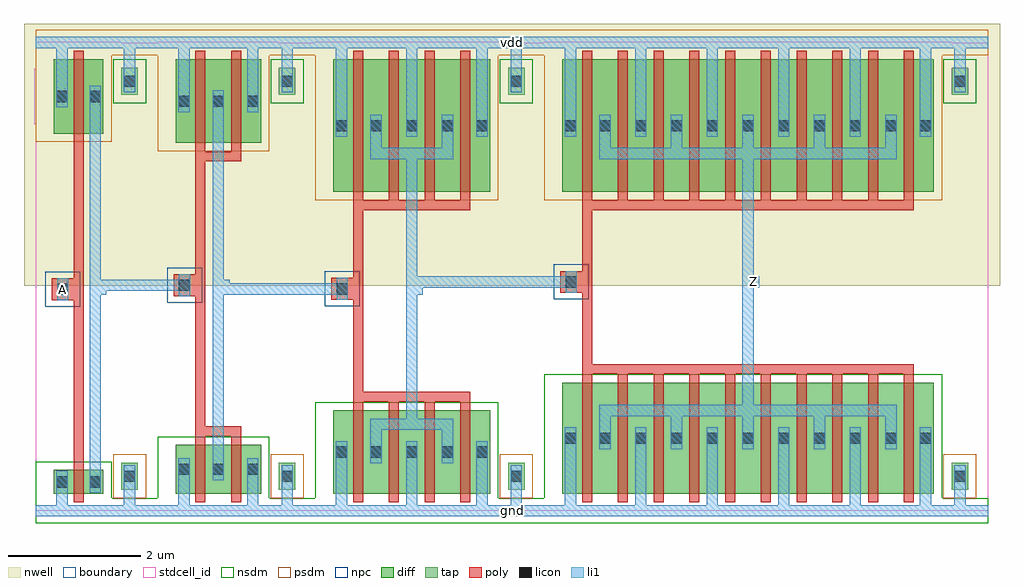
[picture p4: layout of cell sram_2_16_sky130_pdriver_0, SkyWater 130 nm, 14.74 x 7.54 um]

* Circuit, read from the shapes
.subckt sram_2_16_sky130_pdriver_0 A Z gnd vdd
XM1 sram_2_16_sky130_pinv_5_1/A A gnd gnd sky130_fd_pr__nfet_01v8 w=0.36 l=0.15
XM2 sram_2_16_sky130_pinv_6_2/A sram_2_16_sky130_pinv_5_1/A gnd gnd sky130_fd_pr__nfet_01v8 w=0.74 l=0.15 m=2
XM3 sram_2_16_sky130_pinv_7_3/A sram_2_16_sky130_pinv_6_2/A gnd gnd sky130_fd_pr__nfet_01v8 w=1.26 l=0.15 m=4
XM4 Z sram_2_16_sky130_pinv_7_3/A gnd gnd sky130_fd_pr__nfet_01v8 w=1.68 l=0.15 m=10
XM5 sram_2_16_sky130_pinv_5_1/A A vdd vdd sky130_fd_pr__pfet_01v8 w=1.12 l=0.15
XM6 sram_2_16_sky130_pinv_6_2/A sram_2_16_sky130_pinv_5_1/A vdd vdd sky130_fd_pr__pfet_01v8 w=1.26 l=0.15 m=2
XM7 sram_2_16_sky130_pinv_7_3/A sram_2_16_sky130_pinv_6_2/A vdd vdd sky130_fd_pr__pfet_01v8 w=2 l=0.15 m=4
XM8 Z sram_2_16_sky130_pinv_7_3/A vdd vdd sky130_fd_pr__pfet_01v8 w=2 l=0.15 m=10
.ends

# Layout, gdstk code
import gdstk
lib = gdstk.Library(unit=1e-6, precision=1e-09)
def R(c, l, rs):  # rectangles x0, y0, x1, y1
    for r in rs: c.add(gdstk.rectangle(r[:2], r[2:], *l))
def A(c, l, x, y, w, h, nx, ny, dx, dy):  # array of equal rectangles
    R(c, l, [(x+i*dx, y+j*dy, x+i*dx+w, y+j*dy+h) for i in range(nx) for j in range(ny)])
nwell = (64, 20)
diff = (65, 20)
tap = (65, 44)
poly = (66, 20)
licon = (66, 44)
li1 = (67, 20)
stdcell_id = (81, 4)
nsdm = (93, 44)
psdm = (94, 20)
npc = (95, 20)
boundary = (235, 4)

sram_2_16_sky130_contact = lib.new_cell('sram_2_16_sky130_contact_11')
R(sram_2_16_sky130_contact, nwell, [(-0.295,-0.255,0.545,0.585)])
R(sram_2_16_sky130_contact, diff, [(0,0.02,0.25,0.31)])
R(sram_2_16_sky130_contact, licon, [(0.04,0.08,0.21,0.25)])
R(sram_2_16_sky130_contact, li1, [(0.04,0,0.21,0.33)])
R(sram_2_16_sky130_contact, stdcell_id, [(-0.295,-0.255,0.545,0.585)])
R(sram_2_16_sky130_contact, psdm, [(-0.125,-0.105,0.375,0.435)])
R(sram_2_16_sky130_contact, boundary, [(-0.295,-0.255,0.545,0.585)])

sram_2_16_sky130_pmos_m1 = lib.new_cell('sram_2_16_sky130_pmos_m1_w1_120_sli_dli_da_p')
R(sram_2_16_sky130_pmos_m1, nwell, [(-0.27,-0.27,1.02,1.39)])
R(sram_2_16_sky130_pmos_m1, diff, [(0,0,0.75,1.12)])
R(sram_2_16_sky130_pmos_m1, poly, [(0.3,-0.13,0.45,1.25), (0.3,-0.13,0.45,1.25)])
R(sram_2_16_sky130_pmos_m1, li1, [(0.04,0.395,0.21,0.725), (0.54,0.395,0.71,0.725)])
R(sram_2_16_sky130_pmos_m1, stdcell_id, [(-0.27,-0.27,1.02,1.39)])
R(sram_2_16_sky130_pmos_m1, psdm, [(-0.125,-0.125,0.875,1.245)])
R(sram_2_16_sky130_pmos_m1, boundary, [(-0.27,-0.27,1.02,1.39)])
sram_2_16_sky130_pmos_m1.add(gdstk.Reference(sram_2_16_sky130_contact, (0,0.395)))
sram_2_16_sky130_pmos_m1.add(gdstk.Reference(sram_2_16_sky130_contact, (0.5,0.395)))
sram_2_16_sky130_pmos_m1.add(gdstk.Label('G', (0.375,0.56), layer=66, texttype=5))
sram_2_16_sky130_pmos_m1.add(gdstk.Label('S', (0.125,0.56), layer=67, texttype=5))
sram_2_16_sky130_pmos_m1.add(gdstk.Label('D', (0.625,0.56), layer=67, texttype=5))

c_sram_2_16_sky130_contact = lib.new_cell('sram_2_16_sky130_contact_10')
R(c_sram_2_16_sky130_contact, diff, [(0,0.02,0.25,0.31)])
R(c_sram_2_16_sky130_contact, licon, [(0.04,0.08,0.21,0.25)])
R(c_sram_2_16_sky130_contact, li1, [(0.04,0,0.21,0.33)])
R(c_sram_2_16_sky130_contact, stdcell_id, [(-0.125,-0.105,0.375,0.435)])
R(c_sram_2_16_sky130_contact, nsdm, [(-0.125,-0.105,0.375,0.435)])
R(c_sram_2_16_sky130_contact, boundary, [(-0.125,-0.105,0.375,0.435)])

sram_2_16_sky130_nmos_m1 = lib.new_cell('sram_2_16_sky130_nmos_m1_w0_360_sli_dli_da_p')
R(sram_2_16_sky130_nmos_m1, diff, [(0,0,0.75,0.36)])
R(sram_2_16_sky130_nmos_m1, poly, [(0.3,-0.13,0.45,0.49), (0.3,-0.13,0.45,0.49)])
R(sram_2_16_sky130_nmos_m1, li1, [(0.04,0.015,0.21,0.345), (0.54,0.015,0.71,0.345)])
R(sram_2_16_sky130_nmos_m1, stdcell_id, [(-0.125,-0.13,0.875,0.49)])
R(sram_2_16_sky130_nmos_m1, nsdm, [(-0.125,-0.125,0.875,0.485)])
R(sram_2_16_sky130_nmos_m1, boundary, [(-0.125,-0.13,0.875,0.49)])
sram_2_16_sky130_nmos_m1.add(gdstk.Reference(c_sram_2_16_sky130_contact, (0,0.015)))
sram_2_16_sky130_nmos_m1.add(gdstk.Reference(c_sram_2_16_sky130_contact, (0.5,0.015)))
sram_2_16_sky130_nmos_m1.add(gdstk.Label('G', (0.375,0.18), layer=66, texttype=5))
sram_2_16_sky130_nmos_m1.add(gdstk.Label('S', (0.125,0.18), layer=67, texttype=5))
sram_2_16_sky130_nmos_m1.add(gdstk.Label('D', (0.625,0.18), layer=67, texttype=5))

c_sram_2_16_sky130_contact_ = lib.new_cell('sram_2_16_sky130_contact_22')
R(c_sram_2_16_sky130_contact_, nwell, [(-0.295,-0.215,0.545,0.625)])
R(c_sram_2_16_sky130_contact_, tap, [(0,0,0.25,0.41)])
R(c_sram_2_16_sky130_contact_, licon, [(0.04,0.12,0.21,0.29)])
R(c_sram_2_16_sky130_contact_, li1, [(0.04,0.04,0.21,0.37)])
R(c_sram_2_16_sky130_contact_, stdcell_id, [(-0.295,-0.215,0.545,0.625)])
R(c_sram_2_16_sky130_contact_, nsdm, [(-0.125,-0.125,0.375,0.535)])
R(c_sram_2_16_sky130_contact_, boundary, [(-0.295,-0.215,0.545,0.625)])

c_sram_2_16_sky130_contact__ = lib.new_cell('sram_2_16_sky130_contact_23')
R(c_sram_2_16_sky130_contact__, tap, [(0,0,0.25,0.41)])
R(c_sram_2_16_sky130_contact__, licon, [(0.04,0.12,0.21,0.29)])
R(c_sram_2_16_sky130_contact__, li1, [(0.04,0.04,0.21,0.37)])
R(c_sram_2_16_sky130_contact__, stdcell_id, [(-0.125,-0.125,0.375,0.535)])
R(c_sram_2_16_sky130_contact__, psdm, [(-0.125,-0.125,0.375,0.535)])
R(c_sram_2_16_sky130_contact__, boundary, [(-0.125,-0.125,0.375,0.535)])

c_sram_2_16_sky130_contact___ = lib.new_cell('sram_2_16_sky130_contact_15')
R(c_sram_2_16_sky130_contact___, poly, [(0,0,0.33,0.33)])
R(c_sram_2_16_sky130_contact___, licon, [(0.08,0.08,0.25,0.25)])
R(c_sram_2_16_sky130_contact___, li1, [(0.08,0,0.25,0.33)])
R(c_sram_2_16_sky130_contact___, stdcell_id, [(-0.1,-0.1,0.43,0.43)])
R(c_sram_2_16_sky130_contact___, npc, [(-0.1,-0.1,0.43,0.43)])
R(c_sram_2_16_sky130_contact___, boundary, [(-0.1,-0.1,0.43,0.43)])

sram_2_16_sky130_pinv_4 = lib.new_cell('sram_2_16_sky130_pinv_4')
R(sram_2_16_sky130_pinv_4, nwell, [(-0.18,3.395,2.02,7.355)])
R(sram_2_16_sky130_pinv_4, poly, [(0.57,0.745,0.72,5.565), (0.405,3.18,0.57,3.51)])
R(sram_2_16_sky130_pinv_4, li1, [(0,-0.085,1.84,0.085), (0.31,-0.085,0.48,0.27), (1.33,0,1.5,0.52), (0.81,0.27,0.98,6.42), (0.32,3.18,0.49,3.51), (0.895,3.26,1.065,3.43), (0.31,6.09,0.48,7.155), (1.33,6.485,1.5,7.07), (0,6.985,1.84,7.155)])
R(sram_2_16_sky130_pinv_4, stdcell_id, [(0,0,1.84,7.07), (0,0,1.84,7.07)])
R(sram_2_16_sky130_pinv_4, nsdm, [(0,-0.19,1.84,0.19), (0,0,1.145,0.74)])
R(sram_2_16_sky130_pinv_4, psdm, [(0,5.57,1.145,7.07), (0,6.88,1.84,7.26)])
R(sram_2_16_sky130_pinv_4, boundary, [(0,0,1.84,7.07), (0,0,1.84,7.07)])
sram_2_16_sky130_pinv_4.add(gdstk.Reference(sram_2_16_sky130_pmos_m1, (0.27,5.695)))
sram_2_16_sky130_pinv_4.add(gdstk.Reference(sram_2_16_sky130_nmos_m1, (0.27,0.255)))
sram_2_16_sky130_pinv_4.add(gdstk.Reference(c_sram_2_16_sky130_contact_, (1.29,6.28)))
sram_2_16_sky130_pinv_4.add(gdstk.Reference(c_sram_2_16_sky130_contact__, (1.29,0.315)))
sram_2_16_sky130_pinv_4.add(gdstk.Reference(c_sram_2_16_sky130_contact___, (0.24,3.18)))
sram_2_16_sky130_pinv_4.add(gdstk.Label('A', (0.405,3.345), layer=67, texttype=5))
sram_2_16_sky130_pinv_4.add(gdstk.Label('Z', (0.98,3.345), layer=67, texttype=5))
sram_2_16_sky130_pinv_4.add(gdstk.Label('gnd', (0.92,0), layer=67, texttype=5))
sram_2_16_sky130_pinv_4.add(gdstk.Label('vdd', (0.92,7.07), layer=67, texttype=5))

sram_2_16_sky130_pmos_m2 = lib.new_cell('sram_2_16_sky130_pmos_m2_w1_260_sli_dli_da_p')
R(sram_2_16_sky130_pmos_m2, nwell, [(-0.27,-0.27,1.56,1.53)])
R(sram_2_16_sky130_pmos_m2, diff, [(0,0,1.29,1.26)])
R(sram_2_16_sky130_pmos_m2, poly, [(0.3,-0.28,0.99,-0.13), (0.3,-0.13,0.45,1.39), (0.84,-0.13,0.99,1.39)])
A(sram_2_16_sky130_pmos_m2, li1, 0.04, 0.465, 0.17, 0.33, 3, 1, 0.52, 0)
R(sram_2_16_sky130_pmos_m2, stdcell_id, [(-0.27,-0.28,1.56,1.53)])
R(sram_2_16_sky130_pmos_m2, psdm, [(-0.125,-0.125,1.415,1.385)])
R(sram_2_16_sky130_pmos_m2, boundary, [(-0.27,-0.28,1.56,1.53)])
sram_2_16_sky130_pmos_m2.add(gdstk.Reference(sram_2_16_sky130_contact, (0,0.465)))
sram_2_16_sky130_pmos_m2.add(gdstk.Reference(sram_2_16_sky130_contact, (0.52,0.465)))
sram_2_16_sky130_pmos_m2.add(gdstk.Reference(sram_2_16_sky130_contact, (1.04,0.465)))
sram_2_16_sky130_pmos_m2.add(gdstk.Label('G', (0.645,-0.205), layer=66, texttype=5))
sram_2_16_sky130_pmos_m2.add(gdstk.Label('S', (0.125,0.63), layer=67, texttype=5))
sram_2_16_sky130_pmos_m2.add(gdstk.Label('S', (1.165,0.63), layer=67, texttype=5))
sram_2_16_sky130_pmos_m2.add(gdstk.Label('D', (0.645,0.63), layer=67, texttype=5))

sram_2_16_sky130_nmos_m2 = lib.new_cell('sram_2_16_sky130_nmos_m2_w0_740_sli_dli_da_p')
R(sram_2_16_sky130_nmos_m2, diff, [(0,0,1.29,0.74)])
R(sram_2_16_sky130_nmos_m2, poly, [(0.3,-0.13,0.45,0.87), (0.84,-0.13,0.99,0.87), (0.3,0.87,0.99,1.02)])
A(sram_2_16_sky130_nmos_m2, li1, 0.04, 0.205, 0.17, 0.33, 3, 1, 0.52, 0)
R(sram_2_16_sky130_nmos_m2, stdcell_id, [(-0.125,-0.13,1.415,1.02)])
R(sram_2_16_sky130_nmos_m2, nsdm, [(-0.125,-0.125,1.415,0.865)])
R(sram_2_16_sky130_nmos_m2, boundary, [(-0.125,-0.13,1.415,1.02)])
sram_2_16_sky130_nmos_m2.add(gdstk.Reference(c_sram_2_16_sky130_contact, (0,0.205)))
sram_2_16_sky130_nmos_m2.add(gdstk.Reference(c_sram_2_16_sky130_contact, (0.52,0.205)))
sram_2_16_sky130_nmos_m2.add(gdstk.Reference(c_sram_2_16_sky130_contact, (1.04,0.205)))
sram_2_16_sky130_nmos_m2.add(gdstk.Label('G', (0.645,0.945), layer=66, texttype=5))
sram_2_16_sky130_nmos_m2.add(gdstk.Label('S', (0.125,0.37), layer=67, texttype=5))
sram_2_16_sky130_nmos_m2.add(gdstk.Label('S', (1.165,0.37), layer=67, texttype=5))
sram_2_16_sky130_nmos_m2.add(gdstk.Label('D', (0.645,0.37), layer=67, texttype=5))

sram_2_16_sky130_pinv_5 = lib.new_cell('sram_2_16_sky130_pinv_5')
R(sram_2_16_sky130_pinv_5, nwell, [(-0.18,3.395,2.56,7.355)])
R(sram_2_16_sky130_pinv_5, poly, [(0.57,1.275,0.72,5.275), (0.405,3.24,0.57,3.57)])
R(sram_2_16_sky130_pinv_5, li1, [(0,-0.085,2.38,0.085), (0.31,-0.085,0.48,0.46), (1.35,-0.085,1.52,0.46), (1.87,0,2.04,0.52), (0.83,0.46,1,6.35), (0.32,3.24,0.49,3.57), (0.915,3.32,1.085,3.49), (0.31,6.02,0.48,7.155), (1.35,6.02,1.52,7.155), (1.87,6.485,2.04,7.07), (0,6.985,2.38,7.155)])
R(sram_2_16_sky130_pinv_5, stdcell_id, [(0,0,2.38,7.07), (0,0,2.38,7.07)])
R(sram_2_16_sky130_pinv_5, nsdm, [(0,-0.19,2.38,0.19), (0,0,1.685,1.12)])
R(sram_2_16_sky130_pinv_5, psdm, [(0,5.43,1.685,7.07), (0,6.88,2.38,7.26)])
R(sram_2_16_sky130_pinv_5, boundary, [(0,0,2.38,7.07), (0,0,2.38,7.07)])
sram_2_16_sky130_pinv_5.add(gdstk.Reference(sram_2_16_sky130_pmos_m2, (0.27,5.555)))
sram_2_16_sky130_pinv_5.add(gdstk.Reference(sram_2_16_sky130_nmos_m2, (0.27,0.255)))
sram_2_16_sky130_pinv_5.add(gdstk.Reference(c_sram_2_16_sky130_contact_, (1.83,6.28)))
sram_2_16_sky130_pinv_5.add(gdstk.Reference(c_sram_2_16_sky130_contact__, (1.83,0.315)))
sram_2_16_sky130_pinv_5.add(gdstk.Reference(c_sram_2_16_sky130_contact___, (0.24,3.24)))
sram_2_16_sky130_pinv_5.add(gdstk.Label('A', (0.405,3.405), layer=67, texttype=5))
sram_2_16_sky130_pinv_5.add(gdstk.Label('Z', (1,3.405), layer=67, texttype=5))
sram_2_16_sky130_pinv_5.add(gdstk.Label('gnd', (1.19,0), layer=67, texttype=5))
sram_2_16_sky130_pinv_5.add(gdstk.Label('vdd', (1.19,7.07), layer=67, texttype=5))

sram_2_16_sky130_pmos_m4 = lib.new_cell('sram_2_16_sky130_pmos_m4_w2_000_sli_dli_da_p')
R(sram_2_16_sky130_pmos_m4, nwell, [(-0.27,-0.27,2.64,2.27)])
R(sram_2_16_sky130_pmos_m4, diff, [(0,0,2.37,2)])
A(sram_2_16_sky130_pmos_m4, poly, 0.3, -0.13, 0.15, 2.26, 4, 1, 0.54, 0)
R(sram_2_16_sky130_pmos_m4, poly, [(0.3,-0.28,2.07,-0.13)])
A(sram_2_16_sky130_pmos_m4, li1, 0.04, 0.835, 0.17, 0.33, 3, 1, 1.06, 0)
R(sram_2_16_sky130_pmos_m4, li1, [(0.56,0.495,1.81,0.665), (0.56,0.58,0.73,1), (1.64,0.58,1.81,1)])
R(sram_2_16_sky130_pmos_m4, stdcell_id, [(-0.27,-0.28,2.64,2.27)])
R(sram_2_16_sky130_pmos_m4, psdm, [(-0.125,-0.125,2.495,2.125)])
R(sram_2_16_sky130_pmos_m4, boundary, [(-0.27,-0.28,2.64,2.27)])
sram_2_16_sky130_pmos_m4.add(gdstk.Reference(sram_2_16_sky130_contact, (0,0.835)))
sram_2_16_sky130_pmos_m4.add(gdstk.Reference(sram_2_16_sky130_contact, (0.52,0.835)))
sram_2_16_sky130_pmos_m4.add(gdstk.Reference(sram_2_16_sky130_contact, (1.06,0.835)))
sram_2_16_sky130_pmos_m4.add(gdstk.Reference(sram_2_16_sky130_contact, (1.6,0.835)))
sram_2_16_sky130_pmos_m4.add(gdstk.Reference(sram_2_16_sky130_contact, (2.12,0.835)))
sram_2_16_sky130_pmos_m4.add(gdstk.Label('G', (1.185,-0.205), layer=66, texttype=5))
sram_2_16_sky130_pmos_m4.add(gdstk.Label('S', (2.245,1), layer=67, texttype=5))
sram_2_16_sky130_pmos_m4.add(gdstk.Label('S', (0.125,1), layer=67, texttype=5))
sram_2_16_sky130_pmos_m4.add(gdstk.Label('S', (1.185,1), layer=67, texttype=5))
sram_2_16_sky130_pmos_m4.add(gdstk.Label('D', (1.185,0.58), layer=67, texttype=5))

sram_2_16_sky130_nmos_m4 = lib.new_cell('sram_2_16_sky130_nmos_m4_w1_260_sli_dli_da_p')
R(sram_2_16_sky130_nmos_m4, diff, [(0,0,2.37,1.26)])
A(sram_2_16_sky130_nmos_m4, poly, 0.3, -0.13, 0.15, 1.52, 4, 1, 0.54, 0)
R(sram_2_16_sky130_nmos_m4, poly, [(0.3,1.39,2.07,1.54)])
A(sram_2_16_sky130_nmos_m4, li1, 0.04, 0.465, 0.17, 0.33, 3, 1, 1.06, 0)
R(sram_2_16_sky130_nmos_m4, li1, [(0.56,0.63,0.73,1.05), (1.64,0.63,1.81,1.05), (0.56,0.965,1.81,1.135)])
R(sram_2_16_sky130_nmos_m4, stdcell_id, [(-0.125,-0.13,2.495,1.54)])
R(sram_2_16_sky130_nmos_m4, nsdm, [(-0.125,-0.125,2.495,1.385)])
R(sram_2_16_sky130_nmos_m4, boundary, [(-0.125,-0.13,2.495,1.54)])
sram_2_16_sky130_nmos_m4.add(gdstk.Reference(c_sram_2_16_sky130_contact, (0,0.465)))
sram_2_16_sky130_nmos_m4.add(gdstk.Reference(c_sram_2_16_sky130_contact, (0.52,0.465)))
sram_2_16_sky130_nmos_m4.add(gdstk.Reference(c_sram_2_16_sky130_contact, (1.06,0.465)))
sram_2_16_sky130_nmos_m4.add(gdstk.Reference(c_sram_2_16_sky130_contact, (1.6,0.465)))
sram_2_16_sky130_nmos_m4.add(gdstk.Reference(c_sram_2_16_sky130_contact, (2.12,0.465)))
sram_2_16_sky130_nmos_m4.add(gdstk.Label('G', (1.185,1.465), layer=66, texttype=5))
sram_2_16_sky130_nmos_m4.add(gdstk.Label('S', (0.125,0.63), layer=67, texttype=5))
sram_2_16_sky130_nmos_m4.add(gdstk.Label('S', (1.185,0.63), layer=67, texttype=5))
sram_2_16_sky130_nmos_m4.add(gdstk.Label('S', (2.245,0.63), layer=67, texttype=5))
sram_2_16_sky130_nmos_m4.add(gdstk.Label('D', (1.185,1.05), layer=67, texttype=5))

sram_2_16_sky130_pinv_6 = lib.new_cell('sram_2_16_sky130_pinv_6')
R(sram_2_16_sky130_pinv_6, nwell, [(-0.18,3.395,3.64,7.355)])
R(sram_2_16_sky130_pinv_6, poly, [(0.57,1.795,0.72,4.535), (0.405,3.185,0.57,3.515)])
A(sram_2_16_sky130_pinv_6, li1, 0.31, -0.085, 0.17, 0.805, 3, 1, 1.06, 0)
A(sram_2_16_sky130_pinv_6, li1, 0.31, 5.65, 0.17, 1.505, 3, 1, 1.06, 0)
R(sram_2_16_sky130_pinv_6, li1, [(0,-0.085,3.46,0.085), (2.95,0,3.12,0.52), (1.37,1.22,1.54,5.48), (0.32,3.185,0.49,3.515), (1.455,3.265,1.625,3.435), (2.95,6.485,3.12,7.07), (0,6.985,3.46,7.155)])
R(sram_2_16_sky130_pinv_6, stdcell_id, [(0,0,3.46,7.07), (0,0,3.46,7.07)])
R(sram_2_16_sky130_pinv_6, nsdm, [(0,-0.19,3.46,0.19), (0,0,2.765,1.64)])
R(sram_2_16_sky130_pinv_6, psdm, [(0,4.69,2.765,7.07), (0,6.88,3.46,7.26)])
R(sram_2_16_sky130_pinv_6, boundary, [(0,0,3.46,7.07), (0,0,3.46,7.07)])
sram_2_16_sky130_pinv_6.add(gdstk.Reference(sram_2_16_sky130_pmos_m4, (0.27,4.815)))
sram_2_16_sky130_pinv_6.add(gdstk.Reference(sram_2_16_sky130_nmos_m4, (0.27,0.255)))
sram_2_16_sky130_pinv_6.add(gdstk.Reference(c_sram_2_16_sky130_contact_, (2.91,6.28)))
sram_2_16_sky130_pinv_6.add(gdstk.Reference(c_sram_2_16_sky130_contact__, (2.91,0.315)))
sram_2_16_sky130_pinv_6.add(gdstk.Reference(c_sram_2_16_sky130_contact___, (0.24,3.185)))
sram_2_16_sky130_pinv_6.add(gdstk.Label('A', (0.405,3.35), layer=67, texttype=5))
sram_2_16_sky130_pinv_6.add(gdstk.Label('Z', (1.54,3.35), layer=67, texttype=5))
sram_2_16_sky130_pinv_6.add(gdstk.Label('gnd', (1.73,0), layer=67, texttype=5))
sram_2_16_sky130_pinv_6.add(gdstk.Label('vdd', (1.73,7.07), layer=67, texttype=5))

c_sram_2_16_sky130_pmos_m1 = lib.new_cell('sram_2_16_sky130_pmos_m10_w2_000_sli_dli_da_p')
R(c_sram_2_16_sky130_pmos_m1, nwell, [(-0.27,-0.27,5.88,2.27)])
R(c_sram_2_16_sky130_pmos_m1, diff, [(0,0,5.61,2)])
A(c_sram_2_16_sky130_pmos_m1, poly, 0.3, -0.13, 0.15, 2.26, 10, 1, 0.54, 0)
R(c_sram_2_16_sky130_pmos_m1, poly, [(0.3,-0.28,5.31,-0.13)])
A(c_sram_2_16_sky130_pmos_m1, li1, 0.56, 0.58, 0.17, 0.42, 5, 1, 1.08, 0)
A(c_sram_2_16_sky130_pmos_m1, li1, 1.1, 0.835, 0.17, 0.33, 4, 1, 1.08, 0)
R(c_sram_2_16_sky130_pmos_m1, li1, [(0.56,0.495,5.05,0.665), (0.04,0.835,0.21,1.165), (5.4,0.835,5.57,1.165)])
R(c_sram_2_16_sky130_pmos_m1, stdcell_id, [(-0.27,-0.28,5.88,2.27)])
R(c_sram_2_16_sky130_pmos_m1, psdm, [(-0.125,-0.125,5.735,2.125)])
R(c_sram_2_16_sky130_pmos_m1, boundary, [(-0.27,-0.28,5.88,2.27)])
c_sram_2_16_sky130_pmos_m1.add(gdstk.Reference(sram_2_16_sky130_contact, (0,0.835)))
c_sram_2_16_sky130_pmos_m1.add(gdstk.Reference(sram_2_16_sky130_contact, (0.52,0.835)))
c_sram_2_16_sky130_pmos_m1.add(gdstk.Reference(sram_2_16_sky130_contact, (1.06,0.835)))
c_sram_2_16_sky130_pmos_m1.add(gdstk.Reference(sram_2_16_sky130_contact, (1.6,0.835)))
c_sram_2_16_sky130_pmos_m1.add(gdstk.Reference(sram_2_16_sky130_contact, (2.14,0.835)))
c_sram_2_16_sky130_pmos_m1.add(gdstk.Reference(sram_2_16_sky130_contact, (2.68,0.835)))
c_sram_2_16_sky130_pmos_m1.add(gdstk.Reference(sram_2_16_sky130_contact, (3.22,0.835)))
c_sram_2_16_sky130_pmos_m1.add(gdstk.Reference(sram_2_16_sky130_contact, (3.76,0.835)))
c_sram_2_16_sky130_pmos_m1.add(gdstk.Reference(sram_2_16_sky130_contact, (4.3,0.835)))
c_sram_2_16_sky130_pmos_m1.add(gdstk.Reference(sram_2_16_sky130_contact, (4.84,0.835)))
c_sram_2_16_sky130_pmos_m1.add(gdstk.Reference(sram_2_16_sky130_contact, (5.36,0.835)))
c_sram_2_16_sky130_pmos_m1.add(gdstk.Label('G', (2.805,-0.205), layer=66, texttype=5))
c_sram_2_16_sky130_pmos_m1.add(gdstk.Label('S', (3.345,1), layer=67, texttype=5))
c_sram_2_16_sky130_pmos_m1.add(gdstk.Label('S', (0.125,1), layer=67, texttype=5))
c_sram_2_16_sky130_pmos_m1.add(gdstk.Label('S', (1.185,1), layer=67, texttype=5))
c_sram_2_16_sky130_pmos_m1.add(gdstk.Label('S', (4.425,1), layer=67, texttype=5))
c_sram_2_16_sky130_pmos_m1.add(gdstk.Label('S', (2.265,1), layer=67, texttype=5))
c_sram_2_16_sky130_pmos_m1.add(gdstk.Label('S', (5.485,1), layer=67, texttype=5))
c_sram_2_16_sky130_pmos_m1.add(gdstk.Label('D', (2.805,0.58), layer=67, texttype=5))

c_sram_2_16_sky130_nmos_m1 = lib.new_cell('sram_2_16_sky130_nmos_m10_w1_680_sli_dli_da_p')
R(c_sram_2_16_sky130_nmos_m1, diff, [(0,0,5.61,1.68)])
A(c_sram_2_16_sky130_nmos_m1, poly, 0.3, -0.13, 0.15, 1.94, 10, 1, 0.54, 0)
R(c_sram_2_16_sky130_nmos_m1, poly, [(0.3,1.81,5.31,1.96)])
A(c_sram_2_16_sky130_nmos_m1, li1, 1.1, 0.675, 0.17, 0.33, 4, 1, 1.08, 0)
A(c_sram_2_16_sky130_nmos_m1, li1, 0.56, 0.84, 0.17, 0.42, 5, 1, 1.08, 0)
R(c_sram_2_16_sky130_nmos_m1, li1, [(0.04,0.675,0.21,1.005), (5.4,0.675,5.57,1.005), (0.56,1.175,5.05,1.345)])
R(c_sram_2_16_sky130_nmos_m1, stdcell_id, [(-0.125,-0.13,5.735,1.96)])
R(c_sram_2_16_sky130_nmos_m1, nsdm, [(-0.125,-0.125,5.735,1.805)])
R(c_sram_2_16_sky130_nmos_m1, boundary, [(-0.125,-0.13,5.735,1.96)])
c_sram_2_16_sky130_nmos_m1.add(gdstk.Reference(c_sram_2_16_sky130_contact, (0,0.675)))
c_sram_2_16_sky130_nmos_m1.add(gdstk.Reference(c_sram_2_16_sky130_contact, (0.52,0.675)))
c_sram_2_16_sky130_nmos_m1.add(gdstk.Reference(c_sram_2_16_sky130_contact, (1.06,0.675)))
c_sram_2_16_sky130_nmos_m1.add(gdstk.Reference(c_sram_2_16_sky130_contact, (1.6,0.675)))
c_sram_2_16_sky130_nmos_m1.add(gdstk.Reference(c_sram_2_16_sky130_contact, (2.14,0.675)))
c_sram_2_16_sky130_nmos_m1.add(gdstk.Reference(c_sram_2_16_sky130_contact, (2.68,0.675)))
c_sram_2_16_sky130_nmos_m1.add(gdstk.Reference(c_sram_2_16_sky130_contact, (3.22,0.675)))
c_sram_2_16_sky130_nmos_m1.add(gdstk.Reference(c_sram_2_16_sky130_contact, (3.76,0.675)))
c_sram_2_16_sky130_nmos_m1.add(gdstk.Reference(c_sram_2_16_sky130_contact, (4.3,0.675)))
c_sram_2_16_sky130_nmos_m1.add(gdstk.Reference(c_sram_2_16_sky130_contact, (4.84,0.675)))
c_sram_2_16_sky130_nmos_m1.add(gdstk.Reference(c_sram_2_16_sky130_contact, (5.36,0.675)))
c_sram_2_16_sky130_nmos_m1.add(gdstk.Label('G', (2.805,1.885), layer=66, texttype=5))
c_sram_2_16_sky130_nmos_m1.add(gdstk.Label('S', (0.125,0.84), layer=67, texttype=5))
c_sram_2_16_sky130_nmos_m1.add(gdstk.Label('S', (3.345,0.84), layer=67, texttype=5))
c_sram_2_16_sky130_nmos_m1.add(gdstk.Label('S', (1.185,0.84), layer=67, texttype=5))
c_sram_2_16_sky130_nmos_m1.add(gdstk.Label('S', (2.265,0.84), layer=67, texttype=5))
c_sram_2_16_sky130_nmos_m1.add(gdstk.Label('S', (4.425,0.84), layer=67, texttype=5))
c_sram_2_16_sky130_nmos_m1.add(gdstk.Label('S', (5.485,0.84), layer=67, texttype=5))
c_sram_2_16_sky130_nmos_m1.add(gdstk.Label('D', (2.805,1.26), layer=67, texttype=5))

sram_2_16_sky130_pinv_7 = lib.new_cell('sram_2_16_sky130_pinv_7')
R(sram_2_16_sky130_pinv_7, nwell, [(-0.18,3.395,6.88,7.355)])
R(sram_2_16_sky130_pinv_7, poly, [(0.57,2.215,0.72,4.535), (0.405,3.29,0.57,3.62)])
A(sram_2_16_sky130_pinv_7, li1, 1.37, -0.085, 0.17, 1.015, 4, 1, 1.08, 0)
A(sram_2_16_sky130_pinv_7, li1, 1.37, 5.65, 0.17, 1.505, 4, 1, 1.08, 0)
R(sram_2_16_sky130_pinv_7, li1, [(0,-0.085,6.7,0.085), (0.31,-0.085,0.48,0.93), (5.67,-0.085,5.84,0.93), (6.19,0,6.36,0.52), (2.99,1.43,3.16,5.48), (0.32,3.29,0.49,3.62), (3.075,3.37,3.245,3.54), (0.31,5.65,0.48,7.155), (5.67,5.65,5.84,7.155), (6.19,6.485,6.36,7.07), (0,6.985,6.7,7.155)])
R(sram_2_16_sky130_pinv_7, stdcell_id, [(0,0,6.7,7.07), (0,0,6.7,7.07)])
R(sram_2_16_sky130_pinv_7, nsdm, [(0,-0.19,6.7,0.19), (0,0,6.005,2.06)])
R(sram_2_16_sky130_pinv_7, psdm, [(0,4.69,6.005,7.07), (0,6.88,6.7,7.26)])
R(sram_2_16_sky130_pinv_7, boundary, [(0,0,6.7,7.07), (0,0,6.7,7.07)])
sram_2_16_sky130_pinv_7.add(gdstk.Reference(c_sram_2_16_sky130_pmos_m1, (0.27,4.815)))
sram_2_16_sky130_pinv_7.add(gdstk.Reference(c_sram_2_16_sky130_nmos_m1, (0.27,0.255)))
sram_2_16_sky130_pinv_7.add(gdstk.Reference(c_sram_2_16_sky130_contact_, (6.15,6.28)))
sram_2_16_sky130_pinv_7.add(gdstk.Reference(c_sram_2_16_sky130_contact__, (6.15,0.315)))
sram_2_16_sky130_pinv_7.add(gdstk.Reference(c_sram_2_16_sky130_contact___, (0.24,3.29)))
sram_2_16_sky130_pinv_7.add(gdstk.Label('A', (0.405,3.455), layer=67, texttype=5))
sram_2_16_sky130_pinv_7.add(gdstk.Label('Z', (3.16,3.455), layer=67, texttype=5))
sram_2_16_sky130_pinv_7.add(gdstk.Label('gnd', (3.35,0), layer=67, texttype=5))
sram_2_16_sky130_pinv_7.add(gdstk.Label('vdd', (3.35,7.07), layer=67, texttype=5))

sram_2_16_sky130_pdriver = lib.new_cell('sram_2_16_sky130_pdriver_0')
R(sram_2_16_sky130_pdriver, nwell, [(-0.18,3.395,14.56,7.355)])
R(sram_2_16_sky130_pdriver, li1, [(0,-0.085,14.38,0.085), (0.32,3.18,0.49,3.51), (2.755,3.265,2.925,3.435), (2.84,3.265,4.625,3.435), (0.895,3.32,1.065,3.49), (0.98,3.32,2.245,3.49), (0.895,3.345,1.065,3.405), (2.755,3.35,2.925,3.405), (5.675,3.35,5.845,3.455), (5.675,3.37,5.845,3.54), (5.76,3.37,8.085,3.54), (10.755,3.37,10.925,3.54), (0,6.985,14.38,7.155)])
R(sram_2_16_sky130_pdriver, stdcell_id, [(0,0,14.38,7.07), (0,0,14.38,7.07)])
R(sram_2_16_sky130_pdriver, nsdm, [(0,-0.19,14.38,0.19)])
R(sram_2_16_sky130_pdriver, psdm, [(0,6.88,14.38,7.26)])
R(sram_2_16_sky130_pdriver, boundary, [(0,0,14.38,7.07), (0,0,14.38,7.07)])
sram_2_16_sky130_pdriver.add(gdstk.Reference(sram_2_16_sky130_pinv_4, (0,0)))
sram_2_16_sky130_pdriver.add(gdstk.Reference(sram_2_16_sky130_pinv_5, (1.84,0)))
sram_2_16_sky130_pdriver.add(gdstk.Reference(sram_2_16_sky130_pinv_6, (4.22,0)))
sram_2_16_sky130_pdriver.add(gdstk.Reference(sram_2_16_sky130_pinv_7, (7.68,0)))
sram_2_16_sky130_pdriver.add(gdstk.Label('Z', (10.84,3.455), layer=67, texttype=5))
sram_2_16_sky130_pdriver.add(gdstk.Label('A', (0.405,3.345), layer=67, texttype=5))
sram_2_16_sky130_pdriver.add(gdstk.Label('gnd', (7.19,0), layer=67, texttype=5))
sram_2_16_sky130_pdriver.add(gdstk.Label('vdd', (7.19,7.07), layer=67, texttype=5))

lib.write_gds('sram_2_16_sky130_pdriver_0.gds')
